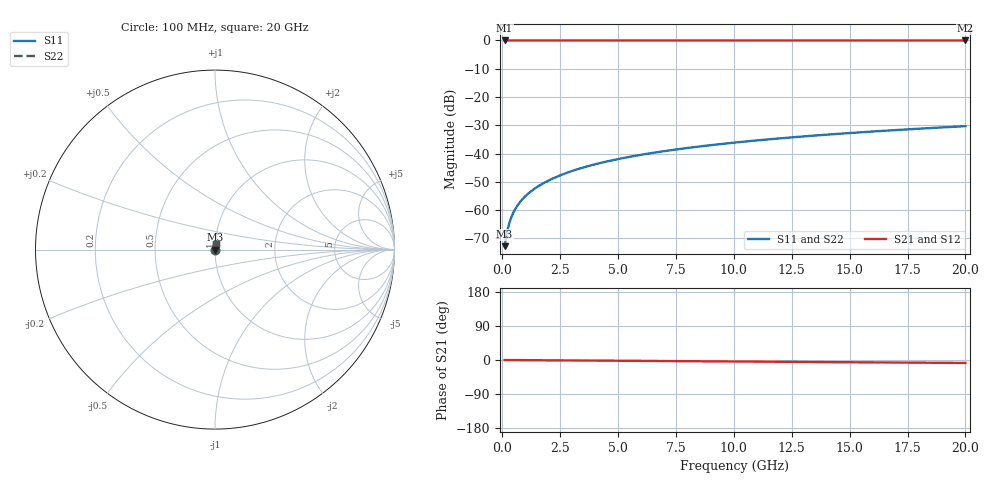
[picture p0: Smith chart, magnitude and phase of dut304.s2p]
! Touchstone file exported from HFSS 2026.1.0
!  File:  C:/ffzhzh/LocalFiles/Ansys_Project_Files/temp_train_TSV_304_1783017943_51716.aedt
!  Generated:  02:47:59 AM Jul  3, 2026
!  Design:  TSV
!  Project:  temp_train_TSV_304_1783017943_51716
! Variables:
!  h_bsmrdl = 2um
!  h_ox = 20um
!  h_rdl = 5um
!  h_sub = 73.47um
!  h_tmrdl = 5um
!  h_tsv = 73.47um
!  h_via = 3um
!  l_bsmrdl = 300um
!  l_sub = 418.86um
!  l_tmrdl = 200um
!  m_sub = 200um
!  pitch = 49.54um
!  r_tsv = 9.43um
!  s_tmrdl = 10um
!  w_bsmrdl = 18um
!  w_sub = 500um
!  w_tmrdl = 12um
!  x_tsv_center1 = 206um
!  x_tsv_center2 = 524um
!  x_tsv_center3 = 736um
!  x_tsv_center4 = 1054um
!  x_tsv_center5 = 1266um
!  x_tsv_center6 = 1584um
# GHz S MA R 50.000000
! Terminal data exported
! Port[1] = TSV1_1_T1
! Port[2] = TSV1_1_T2
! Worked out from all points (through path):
!   200 points, 100 MHz to 20 GHz, reference 50 ohm
!   highest |S21| = 0.00 dB at 100 MHz (marker M1); lowest = 0.0 dB at 20 GHz (marker M2)
!   group delay of S21, straight-line fit = 1.09 ps
!   lowest |S11| = -72.7 dB at 100 MHz (marker M3), VSWR 1.00, Z = 50 + j0.0192 ohm
!   |S11| at or under -10 dB: start of sweep to end of sweep
!   |S22| runs from -72.7 to -30.3 dB; largest |S21 - S12| = 8.8e-15
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0.1  0.000231 56.1  0.9999 -0.0  0.9999 -0.0  0.000231 56.1
! Gamma 0 0 0 0
! Port Impedance 50 0 50 0
0.2  0.0004059 69.9  0.9999 -0.1  0.9999 -0.1  0.0004059 69.9
0.3  0.0005877 74.7  0.9998 -0.1  0.9998 -0.1  0.0005877 74.7
0.4  0.0007677 76.8  0.9998 -0.2  0.9998 -0.2  0.0007677 76.8
0.5  0.0009439 78.0  0.9998 -0.2  0.9998 -0.2  0.0009439 78.0
0.6  0.001116 78.7  0.9998 -0.2  0.9998 -0.2  0.001116 78.7
0.7  0.001284 79.2  0.9998 -0.3  0.9998 -0.3  0.001284 79.2
0.8  0.00145 79.6  0.9997 -0.3  0.9997 -0.3  0.00145 79.6
1  0.001773 80.2  0.9997 -0.4  0.9997 -0.4  0.001773 80.2
1.4  0.002406 81.3  0.9997 -0.6  0.9997 -0.6  0.002406 81.3
1.7  0.002877 81.9  0.9996 -0.7  0.9996 -0.7  0.002877 81.9
2  0.003346 82.4  0.9996 -0.8  0.9996 -0.8  0.003346 82.4
2.7  0.00444 83.1  0.9995 -1.1  0.9995 -1.1  0.00444 83.1
3.5  0.005687 83.5  0.9995 -1.4  0.9995 -1.4  0.005687 83.5
4.2  0.006772 83.6  0.9994 -1.7  0.9994 -1.7  0.006772 83.6
5  0.008005 83.7  0.9994 -2.0  0.9994 -2.0  0.008005 83.7
6.8  0.01076 83.5  0.9992 -2.7  0.9992 -2.7  0.01076 83.5
8.3  0.01304 83.2  0.9991 -3.3  0.9991 -3.3  0.01304 83.3
10.1  0.01576 82.9  0.999 -4.0  0.999 -4.0  0.01576 82.9
13.4  0.02071 82.0  0.9988 -5.3  0.9988 -5.3  0.02071 82.0
16.7  0.02564 81.0  0.9986 -6.6  0.9986 -6.6  0.02564 81.0
20  0.03052 79.8  0.9983 -7.8  0.9983 -7.8  0.03052 79.9
